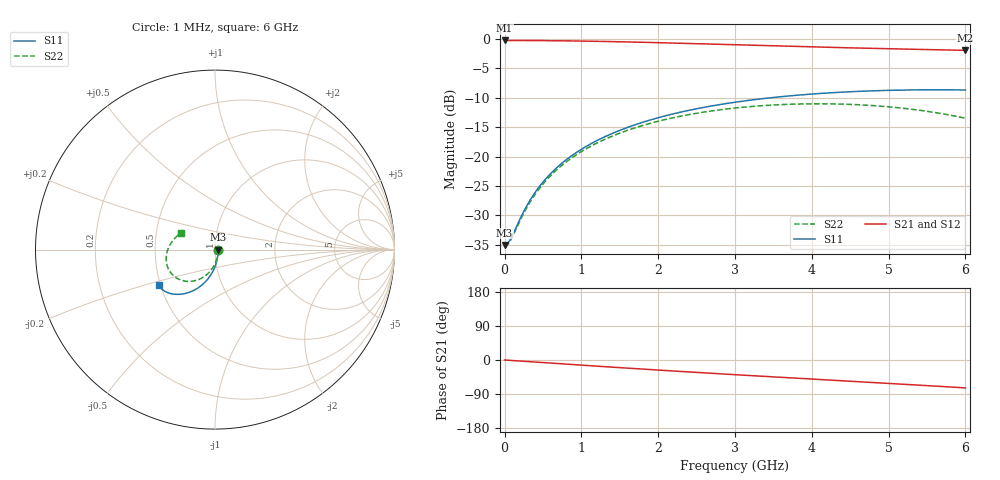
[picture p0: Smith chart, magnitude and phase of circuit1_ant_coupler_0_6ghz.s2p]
! Extracted parasitic 2-port; ideal lumped components from handwritten schematic.
! Port1=left, Port2=right; 0..6GHz at 1MHz; Zref=50Ohm.
# Hz S RI R 50
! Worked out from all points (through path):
!   6000 points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, 1 MHz to 6 GHz, reference 50 ohm
!   highest |S21| = -0.23 dB at 1 MHz (marker M1); lowest = -1.9 dB at 6 GHz (marker M2)
!   group delay of S21, straight-line fit = 33.6 ps
!   lowest |S11| = -35.1 dB at 1 MHz (marker M3), VSWR 1.04, Z = 51.8 - j0.0125 ohm
!   |S11| at or under -10 dB: start of sweep to 3.458 GHz
!   |S22| runs from -35.3 to -11.0 dB; largest |S21 - S12| = 1e-14
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1000000  0.0176 -0.000121  0.9737 -0.000233  0.9737 -0.000233  0.0172 -0.000118
3.6e7  0.0176 -0.00434  0.9736 -0.00837  0.9736 -0.00837  0.0172 -0.00424
7.3e7  0.0175 -0.0088  0.9735 -0.017  0.9735 -0.017  0.017 -0.00859
2.95e8  0.0152 -0.0354  0.9702 -0.0684  0.9702 -0.0684  0.0141 -0.0345
3.84e8  0.0136 -0.046  0.9679 -0.0889  0.9679 -0.0889  0.0119 -0.0447
4.8e8  0.0113 -0.0572  0.9646 -0.1108  0.9646 -0.1108  0.00888 -0.0555
5.91e8  0.00813 -0.0701  0.96 -0.136  0.96 -0.136  0.00464 -0.0677
7.14e8  0.00386 -0.084  0.9538 -0.1635  0.9538 -0.1635  -0.000998 -0.0807
8.51e8  -0.00175 -0.0991  0.9457 -0.1937  0.9457 -0.1937  -0.00839 -0.0946
1.001e9  -0.00887 -0.115  0.9353 -0.226  0.9353 -0.226  -0.0177 -0.1088
1.214e9  -0.0206 -0.1363  0.9181 -0.2705  0.9181 -0.2705  -0.033 -0.1272
1.451e9  -0.0356 -0.1582  0.8958 -0.3178  0.8958 -0.3178  -0.0523 -0.1445
1.714e9  -0.0542 -0.1798  0.8678 -0.3672  0.8678 -0.3672  -0.0759 -0.1597
2.001e9  -0.0763 -0.2  0.8339 -0.4173  0.8339 -0.4173  -0.1034 -0.171
2.477e9  -0.1153 -0.2256  0.7717 -0.4913  0.7717 -0.4913  -0.15 -0.1773
3.001e9  -0.1588 -0.2427  0.6976 -0.5602  0.6976 -0.5602  -0.1979 -0.1667
3.493e9  -0.1977 -0.2491  0.625 -0.6141  0.625 -0.6141  -0.235 -0.1419
4.001e9  -0.2336 -0.2476  0.5481 -0.6604  0.5481 -0.6604  -0.2612 -0.104
4.512e9  -0.2641 -0.2395  0.4694 -0.6989  0.4694 -0.6989  -0.272 -0.0565
5.001e9  -0.2869 -0.2273  0.3922 -0.7289  0.3922 -0.7289  -0.2649 -0.00613
5.493e9  -0.303 -0.2123  0.3122 -0.7526  0.3122 -0.7526  -0.2388 0.045
6e9  -0.312 -0.196  0.2262 -0.7694  0.2262 -0.7694  -0.1906 0.0928
